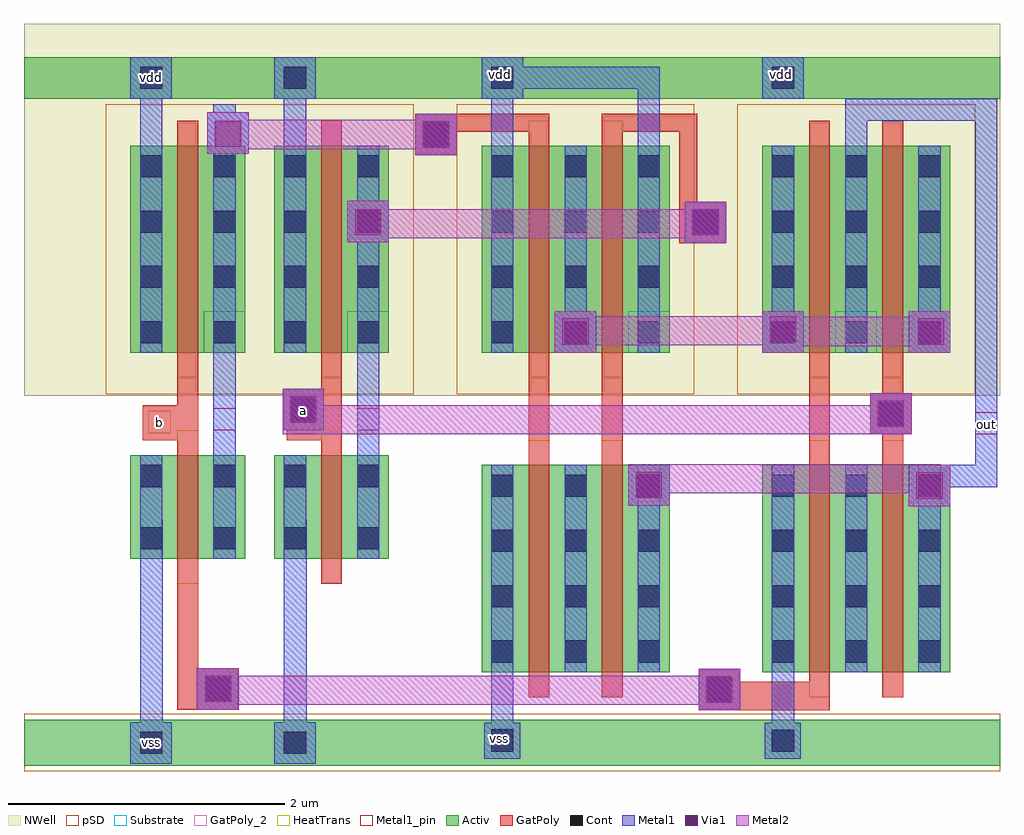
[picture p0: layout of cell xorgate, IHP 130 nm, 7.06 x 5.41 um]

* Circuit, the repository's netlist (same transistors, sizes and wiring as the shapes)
* Extracted by KLayout with SG13G2 LVS runset on : 30/03/2026 23:44

.SUBCKT xorgate
M$1 \$1 \$6 \$3 \$1 sg13_lv_nmos L=0.15u W=1.5u AS=0.51p AD=0.285p PS=3.68u
+ PD=1.88u
M$2 \$3 \$7 \$4 \$1 sg13_lv_nmos L=0.15u W=1.5u AS=0.285p AD=0.51p PS=1.88u
+ PD=3.68u
M$3 \$1 \$2 \$5 \$1 sg13_lv_nmos L=0.15u W=1.5u AS=0.51p AD=0.285p PS=3.68u
+ PD=1.88u
M$4 \$5 \$14 \$4 \$1 sg13_lv_nmos L=0.15u W=1.5u AS=0.285p AD=0.51p PS=1.88u
+ PD=3.68u
M$5 \$1 \$2 \$6 \$1 sg13_lv_nmos L=0.15u W=0.75u AS=0.255p AD=0.255p PS=2.18u
+ PD=2.18u
M$6 \$1 \$14 \$7 \$1 sg13_lv_nmos L=0.15u W=0.75u AS=0.255p AD=0.255p PS=2.18u
+ PD=2.18u
M$7 \$15 \$2 \$6 \$15 sg13_lv_pmos L=0.15u W=1.5u AS=0.51p AD=0.51p PS=3.68u
+ PD=3.68u
M$8 \$15 \$14 \$7 \$15 sg13_lv_pmos L=0.15u W=1.5u AS=0.51p AD=0.51p PS=3.68u
+ PD=3.68u
M$9 \$15 \$6 \$16 \$15 sg13_lv_pmos L=0.15u W=1.5u AS=0.51p AD=0.285p PS=3.68u
+ PD=1.88u
M$10 \$16 \$7 \$15 \$15 sg13_lv_pmos L=0.15u W=1.5u AS=0.285p AD=0.51p PS=1.88u
+ PD=3.68u
M$11 \$16 \$2 \$4 \$15 sg13_lv_pmos L=0.15u W=1.5u AS=0.51p AD=0.285p PS=3.68u
+ PD=1.88u
M$12 \$4 \$14 \$16 \$15 sg13_lv_pmos L=0.15u W=1.5u AS=0.285p AD=0.51p PS=1.88u
+ PD=3.68u
.ENDS xorgate

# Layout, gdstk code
from math import pi, radians
import gdstk
lib = gdstk.Library(unit=1e-6, precision=5e-09)
def R(c, l, rs):  # rectangles x0, y0, x1, y1
    for r in rs: c.add(gdstk.rectangle(r[:2], r[2:], *l))
def A(c, l, x, y, w, h, nx, ny, dx, dy):  # array of equal rectangles
    R(c, l, [(x+i*dx, y+j*dy, x+i*dx+w, y+j*dy+h) for i in range(nx) for j in range(ny)])
Activ = (1, 0)
GatPoly = (5, 0)
GatPoly_2 = (5, 2)
Cont = (6, 0)
Metal1 = (8, 0)
Metal1_pin = (8, 2)
Metal2 = (10, 0)
pSD = (14, 0)
Via1 = (19, 0)
NWell = (31, 0)
Substrate = (40, 0)
HeatTrans = (51, 0)

nmos_1 = lib.new_cell('nmos$1')
R(nmos_1, Activ, [(0,0,0.3,0.3), (0,0,0.83,1.5), (0.53,0,0.83,0.3)])
R(nmos_1, GatPoly, [(0.34,-0.18,0.49,1.68)])
R(nmos_1, GatPoly_2, [(0.34,-0.18,0.49,1.68)])
A(nmos_1, Cont, 0.07, 0.07, 0.16, 0.16, 1, 4, 0, 0.4)
A(nmos_1, Cont, 0.6, 0.07, 0.16, 0.16, 1, 4, 0, 0.4)
R(nmos_1, Metal1, [(0.07,0,0.23,1.5), (0.6,0,0.76,1.5)])
R(nmos_1, Metal1_pin, [(0.07,0,0.23,1.5), (0.6,0,0.76,1.5)])
R(nmos_1, HeatTrans, [(0.34,-0.18,0.49,1.68)])
nmos_1.add(gdstk.Label('nmos', (0.415,0.75), layer=63, texttype=0))
nmos_1.add(gdstk.Label('nmos', (0.415,0.75), layer=51, texttype=0))

pmos = lib.new_cell('pmos')
R(pmos, Activ, [(0,0,0.3,0.3), (0,0,0.83,1.5), (0.53,0,0.83,0.3)])
R(pmos, GatPoly, [(0.34,-0.18,0.49,1.68), (0.34,-0.18,0.49,1.68)])
A(pmos, Cont, 0.07, 0.07, 0.16, 0.16, 1, 4, 0, 0.4)
A(pmos, Cont, 0.6, 0.07, 0.16, 0.16, 1, 4, 0, 0.4)
R(pmos, Metal1, [(0.07,0,0.23,1.5), (0.07,0,0.23,1.5), (0.6,0,0.76,1.5), (0.6,0,0.76,1.5)])
R(pmos, pSD, [(-0.18,-0.3,1.01,1.8)])
R(pmos, NWell, [(-0.31,-0.31,1.14,1.81)])
R(pmos, Substrate, [(0.53,0,0.83,0.3)])
R(pmos, HeatTrans, [(0.34,-0.18,0.49,1.68)])
pmos.add(gdstk.Label('pmos', (0.415,0.75), layer=63, texttype=0))
pmos.add(gdstk.Label('pmos', (0.415,0.75), layer=51, texttype=0))

nmos_4 = lib.new_cell('nmos$4')
R(nmos_4, Activ, [(0,0,0.3,0.3), (0,0,0.83,0.75), (0.53,0,0.83,0.3)])
R(nmos_4, GatPoly, [(0.34,-0.18,0.49,0.93)])
R(nmos_4, GatPoly_2, [(0.34,-0.18,0.49,0.93)])
R(nmos_4, Cont, [(0.07,0.07,0.23,0.23), (0.6,0.07,0.76,0.23), (0.07,0.52,0.23,0.68), (0.6,0.52,0.76,0.68)])
R(nmos_4, Metal1, [(0.07,0,0.23,0.75), (0.6,0,0.76,0.75)])
R(nmos_4, Metal1_pin, [(0.07,0,0.23,0.75), (0.6,0,0.76,0.75)])
R(nmos_4, HeatTrans, [(0.34,-0.18,0.49,0.93)])
nmos_4.add(gdstk.Label('nmos', (0.415,0.375), layer=63, texttype=0))
nmos_4.add(gdstk.Label('nmos', (0.415,0.375), layer=51, texttype=0))

pmos_4 = lib.new_cell('pmos$4')
R(pmos_4, Activ, [(0,0,0.3,0.3), (0,0,0.83,1.5), (0.53,0,0.83,0.3)])
R(pmos_4, GatPoly, [(0.34,-0.18,0.49,1.68), (0.34,-0.18,0.49,1.68)])
A(pmos_4, Cont, 0.07, 0.07, 0.16, 0.16, 1, 4, 0, 0.4)
A(pmos_4, Cont, 0.6, 0.07, 0.16, 0.16, 1, 4, 0, 0.4)
R(pmos_4, Metal1, [(0.07,0,0.23,1.5), (0.07,0,0.23,1.5), (0.6,0,0.76,1.5), (0.6,0,0.76,1.5)])
R(pmos_4, pSD, [(-0.18,-0.3,1.01,1.8)])
R(pmos_4, NWell, [(-0.31,-0.31,1.14,1.81)])
R(pmos_4, Substrate, [(0.53,0,0.83,0.3)])
R(pmos_4, HeatTrans, [(0.34,-0.18,0.49,1.68)])
pmos_4.add(gdstk.Label('pmos', (0.415,0.75), layer=63, texttype=0))
pmos_4.add(gdstk.Label('pmos', (0.415,0.75), layer=51, texttype=0))

inverter_3 = lib.new_cell('inverter$3')
R(inverter_3, Activ, [(-0.845,-2.62,0.395,-2.29), (-0.795,2.205,0.285,2.505)])
R(inverter_3, GatPoly, [(-0.525,-0.265,-0.275,-0.015), (-0.275,-0.195,-0.125,0.185)])
R(inverter_3, GatPoly_2, [(-0.485,-0.215,-0.325,-0.055)])
R(inverter_3, Cont, [(-0.545,-2.535,-0.385,-2.375), (-0.545,-2.535,-0.385,-2.375), (-0.545,2.275,-0.385,2.435)])
R(inverter_3, Metal1, [(-0.545,-2.535,-0.38,-0.845), (-0.015,-0.375,0.145,0.365), (-0.545,1.865,-0.385,2.435)])
R(inverter_3, Metal1_pin, [(-0.015,-0.195,0.145,-0.035)])
R(inverter_3, pSD, [(-0.925,-2.66,0.525,-2.245)])
R(inverter_3, NWell, [(-0.925,2.175,0.525,2.745)])
inverter_3.add(gdstk.Reference(nmos_4, (-0.615,-1.125)))
inverter_3.add(gdstk.Reference(pmos_4, (-0.615,0.365)))
inverter_3.add(gdstk.Label('vss', (-0.475,-2.43), layer=8, texttype=2))
inverter_3.add(gdstk.Label('vdd', (-0.465,2.355), layer=8, texttype=2))
inverter_3.add(gdstk.Label('out', (0.06,-0.09), layer=8, texttype=2))
inverter_3.add(gdstk.Label('in', (-0.45,-0.11), layer=5, texttype=2))

xorgate = lib.new_cell('xorgate')
R(xorgate, Activ, [(-5.955,-2.62,-0.845,-2.29), (-0.845,-2.62,1.105,-2.29), (-5.955,2.205,-0.795,2.505), (-0.795,2.205,1.105,2.505)])
R(xorgate, GatPoly, [(-1.075,-2.22,-0.775,-1.92), (-0.775,-2.22,-0.125,-2.015), (-4.845,-2.215,-4.695,-1.305), (-4.705,-2.215,-4.4,-1.915), (-2.305,-0.265,-2.155,0.185), (-1.775,-0.265,-1.625,0.185), (-0.275,-0.265,-0.125,0.185), (0.255,-0.265,0.405,0.185), (0.165,-0.225,0.465,0.075), (-4.085,-0.195,-3.785,0.105), (-1.215,1.16,-1.085,2.095), (-1.175,1.16,-0.875,1.46), (-3.125,1.795,-2.825,2.095), (-3.07,1.85,-2.88,2.04), (-2.825,1.965,-2.155,2.095), (-1.775,1.965,-1.215,2.095)])
R(xorgate, GatPoly_2, [(-5.055,-0.215,-4.895,-0.055)])
R(xorgate, Cont, [(-2.575,-2.52,-2.415,-2.36), (-0.545,-2.52,-0.385,-2.36), (-1.005,-2.15,-0.845,-1.99), (-4.63,-2.145,-4.47,-1.985), (0.235,-0.155,0.395,0.005), (-4.015,-0.125,-3.855,0.035), (-1.105,1.23,-0.945,1.39), (-3.055,1.865,-2.895,2.025), (-2.575,2.275,-2.415,2.435), (-0.545,2.275,-0.385,2.435)])
R(xorgate, Metal1, [(-5.185,-2.605,-4.885,-2.305), (-4.145,-2.605,-3.845,-2.305), (-2.625,-2.57,-2.365,-2.31), (-0.595,-2.57,-0.335,-2.31), (-2.575,-2.52,-2.415,-0.445), (-0.545,-2.52,-0.385,-1.715), (-1.075,-2.22,-0.775,-1.92), (-4.705,-2.215,-4.405,-1.915), (-1.005,-2.15,-0.845,-1.99), (-4.63,-2.145,-4.47,-1.985), (0.445,-0.745,0.745,-0.445), (-1.585,-0.74,-1.285,-0.44), (0.675,-0.605,0.925,-0.445), (0.925,-0.605,1.085,-0.225), (0.165,-0.225,0.465,0.075), (0.925,-0.225,1.085,2.045), (-4.085,-0.195,-3.785,0.105), (0.235,-0.155,0.395,0.005), (-4.015,-0.125,-3.855,0.035), (-2.575,0.365,-2.415,2.435), (-2.115,0.365,-1.815,0.665), (-0.615,0.365,-0.315,0.665), (0.445,0.365,0.745,0.665), (-1.175,1.16,-0.875,1.46), (-3.615,1.165,-3.315,1.465), (-1.105,1.23,-0.945,1.39), (-3.125,1.795,-2.825,2.095), (-4.63,1.805,-4.33,2.105), (-4.585,1.865,-4.425,2.165), (-3.055,1.865,-2.895,2.025), (-2.575,1.865,-2.415,2.435), (-1.515,1.865,-1.355,2.435), (-0.015,1.865,0.145,2.045), (-0.015,2.045,1.085,2.205), (-5.185,2.205,-4.885,2.505), (-4.145,2.205,-3.845,2.505), (-2.645,2.205,-2.345,2.505), (-0.615,2.205,-0.315,2.505), (-2.575,2.275,-1.355,2.435), (-0.545,2.275,-0.385,2.435)])
R(xorgate, Metal1_pin, [(-2.575,-2.52,-2.415,-2.355), (0.925,-0.225,1.085,-0.065), (-2.575,2.275,-2.415,2.435), (-0.545,2.275,-0.385,2.435)])
R(xorgate, Metal2, [(-1.075,-2.22,-0.775,-1.92), (-4.705,-2.215,-4.405,-1.915), (-4.405,-2.18,-1.075,-1.97), (0.445,-0.745,0.745,-0.445), (-1.585,-0.74,-1.285,-0.44), (-1.515,-0.65,0.675,-0.44), (-4.085,-0.225,0.405,-0.015), (0.165,-0.225,0.465,0.075), (-4.085,-0.195,-3.785,0.105), (-2.115,0.365,-1.815,0.665), (-0.615,0.365,-0.315,0.665), (0.445,0.365,0.745,0.665), (-0.53,0.415,0.675,0.625), (-2.045,0.42,-0.385,0.63), (-1.175,1.16,-0.875,1.46), (-3.615,1.165,-3.315,1.465), (-3.56,1.195,-2.94,1.405), (-2.94,1.195,-0.915,1.405), (-3.125,1.795,-2.825,2.095), (-4.63,1.805,-4.33,2.105), (-4.33,1.84,-3.125,2.05)])
R(xorgate, pSD, [(-5.955,-2.66,-0.925,-2.245), (-0.925,-2.66,1.105,-2.245)])
R(xorgate, Via1, [(-1.02,-2.165,-0.83,-1.975), (-4.645,-2.16,-4.455,-1.97), (0.5,-0.69,0.69,-0.5), (0.5,-0.69,0.69,-0.5), (-1.53,-0.685,-1.34,-0.495), (0.22,-0.17,0.41,0.02), (-4.03,-0.14,-3.84,0.05), (-2.06,0.425,-1.87,0.615), (0.51,0.425,0.7,0.615), (-0.56,0.44,-0.37,0.63), (-3.56,1.215,-3.37,1.405), (-1.12,1.215,-0.93,1.405), (-3.07,1.85,-2.88,2.04), (-4.575,1.855,-4.385,2.045)])
R(xorgate, NWell, [(-5.955,0.055,1.105,2.745), (-5.955,2.175,-0.925,2.745), (-0.925,2.175,1.105,2.745)])
xorgate.add(gdstk.Reference(nmos_1, (0.745,-0.445), rotation=pi))
xorgate.add(gdstk.Reference(nmos_1, (-0.615,-1.945)))
xorgate.add(gdstk.Reference(pmos, (-0.615,0.365)))
xorgate.add(gdstk.Reference(pmos, (-0.085,0.365)))
xorgate.add(gdstk.Reference(pmos, (-2.645,0.365)))
xorgate.add(gdstk.Reference(nmos_1, (-1.285,-0.445), rotation=pi))
xorgate.add(gdstk.Reference(nmos_1, (-2.645,-1.945)))
xorgate.add(gdstk.Reference(inverter_3, (-3.53,0)))
xorgate.add(gdstk.Reference(pmos, (-2.115,0.365)))
xorgate.add(gdstk.Reference(inverter_3, (-4.57,0)))
xorgate.add(gdstk.Label('out', (1.005,-0.15), layer=8, texttype=2))
xorgate.add(gdstk.Label('vss', (-5.035,-2.455), layer=8, texttype=2))
xorgate.add(gdstk.Label('vdd', (-5.035,2.355), layer=8, texttype=2))
xorgate.add(gdstk.Label('vdd', (-2.505,2.38), layer=8, texttype=2))
xorgate.add(gdstk.Label('vss', (-2.515,-2.425), layer=8, texttype=2))
xorgate.add(gdstk.Label('vdd', (-0.475,2.38), layer=8, texttype=2))
xorgate.add(gdstk.Label('a', (-3.93,-0.05), layer=5, texttype=2))
xorgate.add(gdstk.Label('b', (-4.975,-0.135), layer=5, texttype=2))

lib.write_gds('xorgate.gds')
